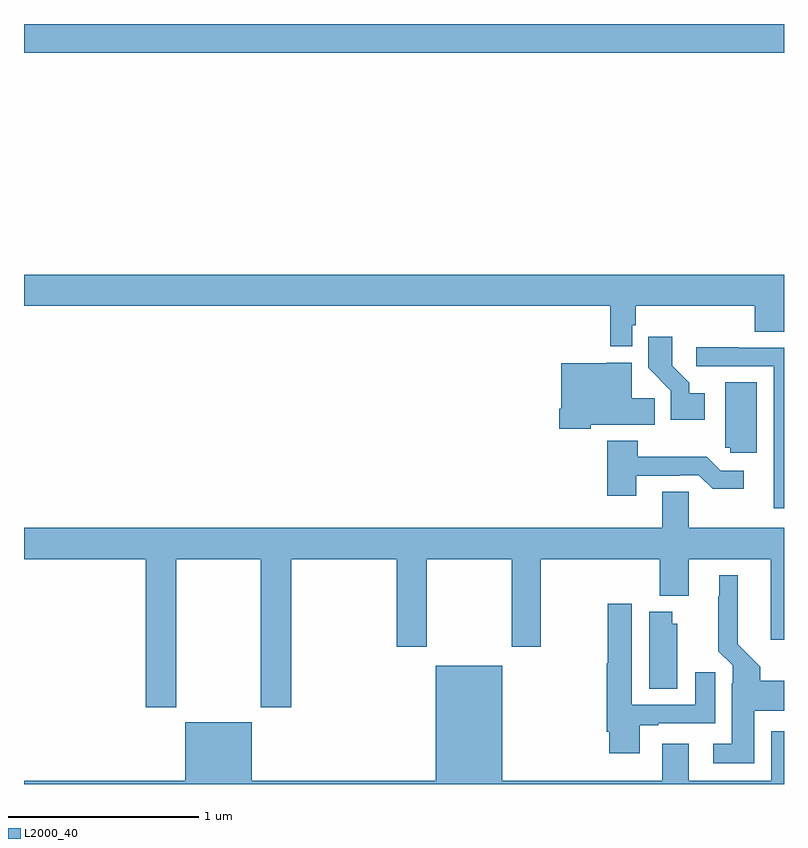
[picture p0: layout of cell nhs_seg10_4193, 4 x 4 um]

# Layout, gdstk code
import gdstk
lib = gdstk.Library(unit=1e-6, precision=1e-09)
def R(c, l, rs):  # rectangles x0, y0, x1, y1
    for r in rs: c.add(gdstk.rectangle(r[:2], r[2:], *l))
def P(c, l, *ps):  # polygons
    for p in ps: c.add(gdstk.Polygon(p, *l))
L2000_40 = (2000, 40)

nhs_seg10_4193 = lib.new_cell('nhs_seg10_4193')
R(nhs_seg10_4193, L2000_40, [(345,1268.348,349,1268.5)])
P(nhs_seg10_4193, L2000_40, [(348.201,1266.915),(348.221,1266.915),(348.221,1267.016),(348.845,1267.016),(348.845,1266.88),(349,1266.88),(349,1267.18),(345,1267.18),(345,1267.016),(348.085,1267.016),(348.085,1266.803),(348.201,1266.803)],
  [(348.583,1266.556),(348.502,1266.556),(348.502,1266.611),(348.412,1266.701),(348.412,1266.853),(348.286,1266.853),(348.286,1266.69),(348.405,1266.571),(348.405,1266.416),(348.583,1266.416)],
  [(349,1266.795),(348.761,1266.795),(348.761,1266.798),(348.537,1266.798),(348.537,1266.699),(348.945,1266.699),(348.945,1265.952),(349,1265.952)],
  [(347.982,1266.392),(348.32,1266.392),(348.32,1266.53),(348.199,1266.53),(348.199,1266.718),(348.066,1266.718),(348.066,1266.715),(347.828,1266.715),(347.828,1266.475),(347.816,1266.475),(347.816,1266.371),(347.982,1266.371)],
  [(348.856,1266.614),(348.692,1266.614),(348.692,1266.27),(348.717,1266.27),(348.717,1266.243),(348.856,1266.243)],
  [(348.223,1266.123),(348.452,1266.123),(348.452,1266.126),(348.552,1266.126),(348.625,1266.053),(348.787,1266.053),(348.787,1266.15),(348.666,1266.15),(348.593,1266.223),(348.231,1266.223),(348.231,1266.307),(348.071,1266.307),(348.071,1266.018),(348.223,1266.018)],
  [(345.801,1265.684),(346.246,1265.684),(346.246,1264.905),(346.406,1264.905),(346.406,1265.684),(346.961,1265.684),(346.961,1265.223),(347.121,1265.223),(347.121,1265.684),(347.566,1265.684),(347.566,1265.223),(347.721,1265.223),(347.721,1265.684),(348.347,1265.684),(348.347,1265.492),(348.499,1265.492),(348.499,1265.684),(348.929,1265.684),(348.929,1265.259),(349,1265.259),(349,1265.848),(348.498,1265.848),(348.498,1266.038),(348.359,1266.038),(348.359,1265.848),(345,1265.848),(345,1265.684),(345.641,1265.684),(345.641,1264.905),(345.801,1264.905)],
  [(348.844,1264.886),(349,1264.886),(349,1265.044),(348.875,1265.044),(348.875,1265.118),(348.757,1265.236),(348.757,1265.599),(348.659,1265.599),(348.659,1265.489),(348.655,1265.489),(348.655,1265.198),(348.729,1265.124),(348.729,1265.03),(348.725,1265.03),(348.725,1264.711),(348.627,1264.711),(348.627,1264.61),(348.844,1264.61)],
  [(348.241,1264.809),(348.337,1264.809),(348.337,1264.821),(348.637,1264.821),(348.637,1265.089),(348.533,1265.089),(348.533,1264.917),(348.199,1264.917),(348.199,1265.449),(348.073,1265.449),(348.073,1265.136),(348.068,1265.136),(348.068,1264.774),(348.08,1264.774),(348.08,1264.662),(348.241,1264.662)],
  [(348.439,1265.343),(348.412,1265.343),(348.412,1265.407),(348.29,1265.407),(348.29,1265.002),(348.439,1265.002)],
  [(349,1264.777),(348.933,1264.777),(348.933,1264.516),(348.499,1264.516),(348.499,1264.711),(348.359,1264.711),(348.359,1264.516),(347.518,1264.516),(347.518,1265.122),(347.168,1265.122),(347.168,1264.516),(346.198,1264.516),(346.198,1264.825),(345.848,1264.825),(345.848,1264.516),(345,1264.516),(345,1264.5),(349,1264.5)])

lib.write_gds('nhs_seg10_4193.gds')
